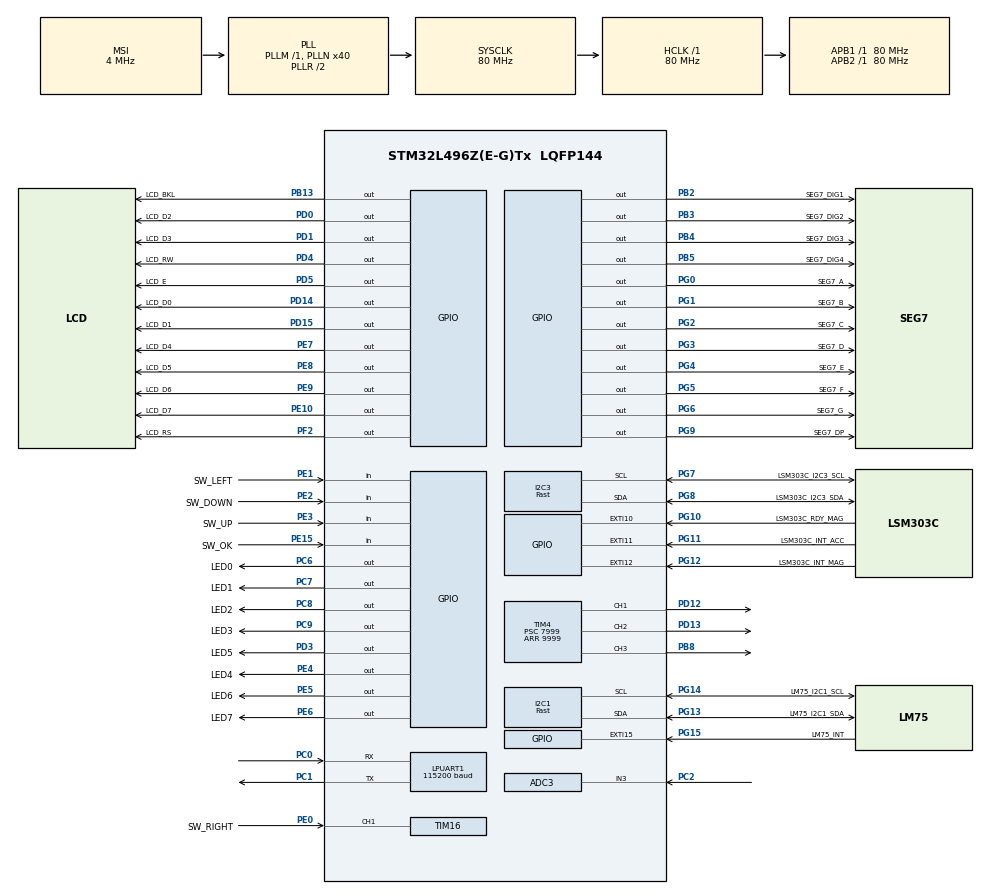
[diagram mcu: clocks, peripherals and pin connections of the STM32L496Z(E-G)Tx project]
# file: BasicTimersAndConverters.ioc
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ADC3.AWD1HighThreshold=2500
ADC3.AWD1ITMode=ENABLE
ADC3.AWD1LowThreshold=1000
ADC3.Channel-0\#ChannelRegularConversion=ADC_CHANNEL_TEMPSENSOR
ADC3.Channel-1\#ChannelRegularConversion=ADC_CHANNEL_3
ADC3.ClockPrescaler=ADC_CLOCK_SYNC_PCLK_DIV1
ADC3.EnableAnalogWatchDog1=true
ADC3.NbrOfConversion=2
ADC3.NbrOfConversionFlag=1
ADC3.OffsetNumber-0\#ChannelRegularConversion=ADC_OFFSET_NONE
ADC3.OffsetNumber-1\#ChannelRegularConversion=ADC_OFFSET_NONE
ADC3.Rank-0\#ChannelRegularConversion=1
ADC3.Rank-1\#ChannelRegularConversion=2
ADC3.SamplingTime-0\#ChannelRegularConversion=ADC_SAMPLETIME_12CYCLES_5
ADC3.SamplingTime-1\#ChannelRegularConversion=ADC_SAMPLETIME_2CYCLES_5
ADC3.WatchdogChannel=ADC_CHANNEL_TEMPSENSOR
Dma.I2C3_RX.2.Direction=DMA_PERIPH_TO_MEMORY
Dma.I2C3_RX.2.Instance=DMA1_Channel3
Dma.I2C3_RX.2.MemDataAlignment=DMA_MDATAALIGN_BYTE
Dma.I2C3_RX.2.MemInc=DMA_MINC_ENABLE
Dma.I2C3_RX.2.Mode=DMA_NORMAL
Dma.I2C3_RX.2.PeriphDataAlignment=DMA_PDATAALIGN_BYTE
Dma.I2C3_RX.2.PeriphInc=DMA_PINC_DISABLE
Dma.I2C3_RX.2.Priority=DMA_PRIORITY_LOW
Dma.LPUART_RX.0.Direction=DMA_PERIPH_TO_MEMORY
Dma.LPUART_RX.0.Instance=DMA2_Channel7
Dma.LPUART_RX.0.MemDataAlignment=DMA_MDATAALIGN_BYTE
Dma.LPUART_RX.0.MemInc=DMA_MINC_ENABLE
Dma.LPUART_RX.0.Mode=DMA_NORMAL
Dma.LPUART_RX.0.PeriphDataAlignment=DMA_PDATAALIGN_BYTE
Dma.LPUART_RX.0.PeriphInc=DMA_PINC_DISABLE
Dma.LPUART_RX.0.Priority=DMA_PRIORITY_LOW
Dma.LPUART_TX.1.Direction=DMA_MEMORY_TO_PERIPH
Dma.LPUART_TX.1.Instance=DMA2_Channel6
Dma.LPUART_TX.1.MemDataAlignment=DMA_MDATAALIGN_BYTE
Dma.LPUART_TX.1.MemInc=DMA_MINC_ENABLE
Dma.LPUART_TX.1.Mode=DMA_NORMAL
Dma.LPUART_TX.1.PeriphDataAlignment=DMA_PDATAALIGN_BYTE
Dma.LPUART_TX.1.PeriphInc=DMA_PINC_DISABLE
Dma.LPUART_TX.1.Priority=DMA_PRIORITY_LOW
Dma.Request0=LPUART_RX
Dma.Request1=LPUART_TX
Dma.Request2=I2C3_RX
I2C1.I2C_Fall_Time=300
I2C1.I2C_Rise_Time=300
I2C1.I2C_Speed_Mode=I2C_Fast
I2C1.OwnAddress=0
I2C1.Timing=0x20A60D20
I2C3.I2C_Fall_Time=300
I2C3.I2C_Rise_Time=300
I2C3.I2C_Speed_Mode=I2C_Fast
I2C3.OwnAddress=0x1D
I2C3.Timing=0x20A60D20
LPUART1.BaudRate=115200
LPUART1.WordLength=UART_WORDLENGTH_8B
Mcu.Family=STM32L4
Mcu.Name=STM32L496Z(E-G)Tx
Mcu.Package=LQFP144
NVIC.ADC3_IRQn=true\:0\:0\:false\:false\:true\:true\:true
NVIC.DMA1_Channel3_IRQn=true\:0\:0\:false\:false\:true\:false\:true
NVIC.DMA2_Channel6_IRQn=true\:0\:0\:false\:false\:true\:false\:true
NVIC.DMA2_Channel7_IRQn=true\:0\:0\:false\:false\:true\:false\:true
NVIC.EXTI15_10_IRQn=true\:0\:0\:false\:false\:true\:true\:true
NVIC.I2C1_EV_IRQn=true\:0\:0\:false\:false\:true\:true\:true
NVIC.I2C3_EV_IRQn=true\:0\:0\:false\:false\:true\:true\:true
NVIC.LPUART1_IRQn=true\:0\:0\:false\:false\:true\:true\:true
NVIC.PriorityGroup=NVIC_PRIORITYGROUP_4
NVIC.TIM1_UP_TIM16_IRQn=true\:0\:0\:false\:false\:true\:true\:true
NVIC.TIM4_IRQn=true\:0\:0\:false\:false\:true\:true\:true
PA13\ (JTMS/SWDIO).Mode=Serial_Wire
PA13\ (JTMS/SWDIO).Signal=SYS_JTMS-SWDIO
PA14\ (JTCK/SWCLK).Mode=Serial_Wire
PA14\ (JTCK/SWCLK).Signal=SYS_JTCK-SWCLK
PB13.GPIO_Label=LCD_BKL
PB13.Signal=GPIO_Output
PB2.GPIO_Label=SEG7_DIG1
PB2.Signal=GPIO_Output
PB3\ (JTDO/TRACESWO).GPIO_Label=SEG7_DIG2
PB3\ (JTDO/TRACESWO).Signal=GPIO_Output
PB4\ (NJTRST).GPIO_Label=SEG7_DIG3
PB4\ (NJTRST).Signal=GPIO_Output
PB5.GPIO_Label=SEG7_DIG4
PB5.Signal=GPIO_Output
PB8.Signal=S_TIM4_CH3
PC0.Mode=Asynchronous
PC0.Signal=LPUART1_RX
PC1.Mode=Asynchronous
PC1.Signal=LPUART1_TX
PC2.Signal=ADCx_IN3
PC6.GPIO_Label=LED0
PC6.Signal=GPIO_Output
PC7.GPIO_Label=LED1
PC7.Signal=GPIO_Output
PC8.GPIO_Label=LED2
PC8.Signal=GPIO_Output
PC9.GPIO_Label=LED3
PC9.Signal=GPIO_Output
PD0.GPIO_Label=LCD_D2
PD0.Signal=GPIO_Output
PD1.GPIO_Label=LCD_D3
PD1.Signal=GPIO_Output
PD12.Signal=S_TIM4_CH1
PD13.Signal=S_TIM4_CH2
PD14.GPIO_Label=LCD_D0
PD14.Signal=GPIO_Output
PD15.GPIO_Label=LCD_D1
PD15.Signal=GPIO_Output
PD3.GPIO_Label=LED5
PD3.Signal=GPIO_Output
PD4.GPIO_Label=LCD_RW
PD4.Signal=GPIO_Output
PD5.GPIO_Label=LCD_E
PD5.Signal=GPIO_Output
PE0.GPIO_Label=SW_RIGHT
PE0.Signal=S_TIM16_CH1
PE1.GPIO_Label=SW_LEFT
PE1.Signal=GPIO_Input
PE10.GPIO_Label=LCD_D7
PE10.Signal=GPIO_Output
PE15.GPIO_Label=SW_OK
PE15.Signal=GPIO_Input
PE2.GPIO_Label=SW_DOWN
PE2.Signal=GPIO_Input
PE3.GPIO_Label=SW_UP
PE3.Signal=GPIO_Input
PE4.GPIO_Label=LED4
PE4.Signal=GPIO_Output
PE5.GPIO_Label=LED6
PE5.Signal=GPIO_Output
PE6.GPIO_Label=LED7
PE6.Signal=GPIO_Output
PE7.GPIO_Label=LCD_D4
PE7.Signal=GPIO_Output
PE8.GPIO_Label=LCD_D5
PE8.Signal=GPIO_Output
PE9.GPIO_Label=LCD_D6
PE9.Signal=GPIO_Output
PF2.GPIO_Label=LCD_RS
PF2.Signal=GPIO_Output
PG0.GPIO_Label=SEG7_A
PG0.Signal=GPIO_Output
PG1.GPIO_Label=SEG7_B
PG1.Signal=GPIO_Output
PG10.GPIO_Label=LSM303C_RDY_MAG
PG10.GPIO_ModeDefaultEXTI=GPIO_MODE_IT_FALLING
PG10.Signal=GPXTI10
PG11.GPIO_Label=LSM303C_INT_ACC
PG11.GPIO_ModeDefaultEXTI=GPIO_MODE_IT_FALLING
PG11.Signal=GPXTI11
PG12.GPIO_Label=LSM303C_INT_MAG
PG12.GPIO_ModeDefaultEXTI=GPIO_MODE_IT_FALLING
PG12.Signal=GPXTI12
PG13.GPIO_Label=LM75_I2C1_SDA
PG13.Mode=I2C
PG13.Signal=I2C1_SDA
PG14.GPIO_Label=LM75_I2C1_SCL
PG14.Mode=I2C
PG14.Signal=I2C1_SCL
PG15.GPIO_Label=LM75_INT
PG15.GPIO_ModeDefaultEXTI=GPIO_MODE_IT_FALLING
PG15.Signal=GPXTI15
PG2.GPIO_Label=SEG7_C
PG2.Signal=GPIO_Output
PG3.GPIO_Label=SEG7_D
PG3.Signal=GPIO_Output
PG4.GPIO_Label=SEG7_E
PG4.Signal=GPIO_Output
PG5.GPIO_Label=SEG7_F
PG5.Signal=GPIO_Output
PG6.GPIO_Label=SEG7_G
PG6.Signal=GPIO_Output
PG7.GPIO_Label=LSM303C_I2C3_SCL
PG7.Mode=I2C
PG7.Signal=I2C3_SCL
PG8.GPIO_Label=LSM303C_I2C3_SDA
PG8.Mode=I2C
PG8.Signal=I2C3_SDA
PG9.GPIO_Label=SEG7_DP
PG9.Signal=GPIO_Output
ProjectManager.HeapSize=0x200
ProjectManager.StackSize=0x400
ProjectManager.TargetToolchain=STM32CubeIDE
RCC.ADCFreq_Value=32000000
RCC.AHBFreq_Value=80000000
RCC.APB1Freq_Value=80000000
RCC.APB1TimFreq_Value=80000000
RCC.APB2Freq_Value=80000000
RCC.APB2TimFreq_Value=80000000
RCC.CortexFreq_Value=80000000
RCC.HCLKFreq_Value=80000000
RCC.HSE_VALUE=8000000
RCC.HSI48_VALUE=48000000
RCC.HSI_VALUE=16000000
RCC.LSE_VALUE=32768
RCC.MSI_VALUE=4000000
RCC.PLLN=40
RCC.PLLSAI1N=16
RCC.SYSCLKFreq_VALUE=80000000
RCC.SYSCLKSource=RCC_SYSCLKSOURCE_PLLCLK
RCC.USBFreq_Value=32000000
RCC.VCOOutputFreq_Value=160000000
SH.ADCx_IN3.0=ADC3_IN3,IN3-Single-Ended
SH.S_TIM16_CH1.0=TIM16_CH1,Input_Capture1_from_TI1
SH.S_TIM4_CH1.0=TIM4_CH1,PWM Generation1 CH1
SH.S_TIM4_CH2.0=TIM4_CH2,PWM Generation2 CH2
SH.S_TIM4_CH3.0=TIM4_CH3,PWM Generation3 CH3
TIM16.Channel=TIM_CHANNEL_1
TIM16.ICPolarity_CH1=TIM_INPUTCHANNELPOLARITY_FALLING
TIM16.Period=49999
TIM16.Prescaler=1599
TIM4.Channel-PWM\ Generation1\ CH1=TIM_CHANNEL_1
TIM4.Channel-PWM\ Generation2\ CH2=TIM_CHANNEL_2
TIM4.Channel-PWM\ Generation3\ CH3=TIM_CHANNEL_3
TIM4.Period=9999
TIM4.Prescaler=7999
TIM4.Pulse-PWM\ Generation1\ CH1=50
TIM4.Pulse-PWM\ Generation2\ CH2=400
TIM4.Pulse-PWM\ Generation3\ CH3=2000
VP_ADC3_TempSens_Input.Mode=IN-TempSens
VP_TIM16_VS_ClockSourceINT.Mode=Enable_Timer
VP_TIM4_VS_ClockSourceINT.Mode=Internal
board=custom

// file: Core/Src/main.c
/* USER CODE BEGIN Header */
/**
 ******************************************************************************
 * @file           : main.c
 * @brief          : Main program body
 ******************************************************************************
 * @attention
 *
 * <h2><center>&copy; Copyright (c) 2021 STMicroelectronics.
 * All rights reserved.</center></h2>
 *
 * This software component is licensed by ST under BSD 3-Clause license,
 * the "License"; You may not use this file except in compliance with the
 * License. You may obtain a copy of the License at:
 *                        opensource.org/licenses/BSD-3-Clause
 *
 ******************************************************************************
 */
/* USER CODE END Header */
#include "main.h"
#include "adc.h"
#include "dma.h"
#include "i2c.h"
#include "usart.h"
#include "tim.h"
#include "gpio.h"

/* USER CODE BEGIN Includes */
#include <stdlib.h>
#include <stdio.h>
#include <string.h>
#include <math.h>
#include "sensor.h"
#include "display.h"
#include "lcd.h"
/* USER CODE END Includes */

/* USER CODE BEGIN PTD */

typedef struct {
	uint16_t second;
	uint16_t milisecond;
	uint16_t microsecond;
}TimeStamp_t;;

#define TS30    ((uint16_t*)((uint32_t)0x1FFF75A8)) * 1.1
#define TS110   ((uint16_t*)((uint32_t)0x1FFF75CA)) * 1.1

/* USER CODE END PTD */

/* USER CODE BEGIN PV */

TimeStamp_t timeStamp;
uint16_t second = 0;
FlagStatus update=RESET;

uint32_t analogWatchdogStatus = RESET;

/* USER CODE END PV */

void SystemClock_Config(void);

/* USER CODE BEGIN 0 */

float calc_pwm(float val)
{
    const float k = 0.13f;
    const float x0 = 70.0f;
    return 10000.0f / (1.0f + exp(-k * (val - x0)));
}

/* USER CODE END 0 */

int main(void)
{

  /* MCU Configuration--------------------------------------------------------*/

  /* Reset of all peripherals, Initializes the Flash interface and the Systick. */
  HAL_Init();

  /* Configure the system clock */
  SystemClock_Config();

  /* Initialize all configured peripherals */
  MX_GPIO_Init();
  MX_DMA_Init();
  MX_LPUART1_UART_Init();
  MX_I2C1_Init();
  MX_I2C3_Init();
  MX_TIM4_Init();
  MX_TIM16_Init();
  MX_ADC3_Init();

  /* Infinite loop */
  /* USER CODE BEGIN WHILE */
  char lcd[16];
  LCD_Init();
  LCD_BacklightOn();
uint32_t i=0;
uint16_t adcConversionValue[]={0,0};

 uint16_t  ADC_TEMP_3V3_30C =  (uint16_t*)(0x1FFF7A2C);
 uint16_t  ADC_TEMP_3V3_110C = (uint16_t*)(0x1FFF7A2E);

float adcCalTemp30C = ADC_TEMP_3V3_30C * 1.1;
float adcCalTemp110C = ADC_TEMP_3V3_110C * 1.1;

if(HAL_ADCEx_Calibration_Start(&hadc3, ADC_SINGLE_ENDED) != HAL_OK)
	Error_Handler();

	while (1) {

		if(HAL_ADC_Start(&hadc3) != HAL_OK)
			Error_Handler();

		//oczekiewanie na zakonczenie pomiaru na czujniku tempteratury
		while(__HAL_ADC_GET_FLAG(&hadc3, ADC_FLAG_EOC) != SET)
			;

		adcConversionValue[0] = HAL_ADC_GetValue(&hadc3);

		//oczekiwanie na zakonczenie pomiaru na potencjometrze
		while(__HAL_ADC_GET_FLAG(&hadc3, ADC_FLAG_EOC) != SET);

		adcConversionValue[1] = HAL_ADC_GetValue(&hadc3);
		//Naprzemienne wys zmierzonej wartosci

		sprintf(lcd, "%f",  adcConversionValue[1] * 3.3f/4096.0f);
				 LCD_WriteTextXY((uint8_t*) lcd, strlen(lcd), 1, 1);

				 float temperature = ((float)(adcConversionValue[0]) - adcCalTemp30C)/(adcCalTemp110C - adcCalTemp30C) * (110.0F - 30.0F) + 30.0F;

				   sprintf(lcd, "%f",  temperature);
				   				 LCD_WriteTextXY((uint8_t*) lcd, strlen(lcd), 2, 1);

		LEDs_SetValue((1<<(i++ & 1)) | (analogWatchdogStatus << 7));
		HAL_Delay(1000);
		analogWatchdogStatus = RESET;
	}

	}
    /* USER CODE END WHILE */

void SystemClock_Config(void)
{
  RCC_OscInitTypeDef RCC_OscInitStruct = {0};
  RCC_ClkInitTypeDef RCC_ClkInitStruct = {0};

  /** Configure the main internal regulator output voltage
  */
  if (HAL_PWREx_ControlVoltageScaling(PWR_REGULATOR_VOLTAGE_SCALE1) != HAL_OK)
  {
    Error_Handler();
  }
  /** Initializes the RCC Oscillators according to the specified parameters
  * in the RCC_OscInitTypeDef structure.
  */
  RCC_OscInitStruct.OscillatorType = RCC_OSCILLATORTYPE_LSI|RCC_OSCILLATORTYPE_MSI;
  RCC_OscInitStruct.LSIState = RCC_LSI_ON;
  RCC_OscInitStruct.MSIState = RCC_MSI_ON;
  RCC_OscInitStruct.MSICalibrationValue = 0;
  RCC_OscInitStruct.MSIClockRange = RCC_MSIRANGE_6;
  RCC_OscInitStruct.PLL.PLLState = RCC_PLL_ON;
  RCC_OscInitStruct.PLL.PLLSource = RCC_PLLSOURCE_MSI;
  RCC_OscInitStruct.PLL.PLLM = 1;
  RCC_OscInitStruct.PLL.PLLN = 40;
  RCC_OscInitStruct.PLL.PLLP = RCC_PLLP_DIV2;
  RCC_OscInitStruct.PLL.PLLQ = RCC_PLLQ_DIV2;
  RCC_OscInitStruct.PLL.PLLR = RCC_PLLR_DIV2;
  if (HAL_RCC_OscConfig(&RCC_OscInitStruct) != HAL_OK)
  {
    Error_Handler();
  }
  /** Initializes the CPU, AHB and APB buses clocks
  */
  RCC_ClkInitStruct.ClockType = RCC_CLOCKTYPE_HCLK|RCC_CLOCKTYPE_SYSCLK
                              |RCC_CLOCKTYPE_PCLK1|RCC_CLOCKTYPE_PCLK2;
  RCC_ClkInitStruct.SYSCLKSource = RCC_SYSCLKSOURCE_PLLCLK;
  RCC_ClkInitStruct.AHBCLKDivider = RCC_SYSCLK_DIV1;
  RCC_ClkInitStruct.APB1CLKDivider = RCC_HCLK_DIV1;
  RCC_ClkInitStruct.APB2CLKDivider = RCC_HCLK_DIV1;

  if (HAL_RCC_ClockConfig(&RCC_ClkInitStruct, FLASH_LATENCY_4) != HAL_OK)
  {
    Error_Handler();
  }
}

/* USER CODE BEGIN 4 */
void HAL_SYSTICK_Callback(void) {
	SEG_Callback();
	SW_SysTickCallback();
}

void HAL_TIM_PeriodElapsedCallback(TIM_HandleTypeDef *htim){
	if(htim->Instance == TIM16){
		second++;
	}
}

void HAL_TIM_IC_CaptureCallback(TIM_HandleTypeDef *htim){
	if(htim->Instance == TIM16){
		if(htim->Channel == HAL_TIM_ACTIVE_CHANNEL_1){
			uint32_t microsecond = HAL_TIM_ReadCapturedValue(htim, TIM_CHANNEL_1) * 20;
			timeStamp.second=second;
			timeStamp.milisecond = (uint16_t)(microsecond/1000);
			timeStamp.microsecond= (uint16_t)(microsecond%1000);
			update=SET;
		}
	}
}

void HAL_ADC_LevelOutOfWindowcCallback(ADC_HandleTypeDef *hadc){
	analogWatchdogStatus= SET;
}
/* USER CODE END 4 */

void Error_Handler(void)
{
	__disable_irq();
	while (1) {
	}
}

/************************ (C) COPYRIGHT STMicroelectronics *****END OF FILE****/
